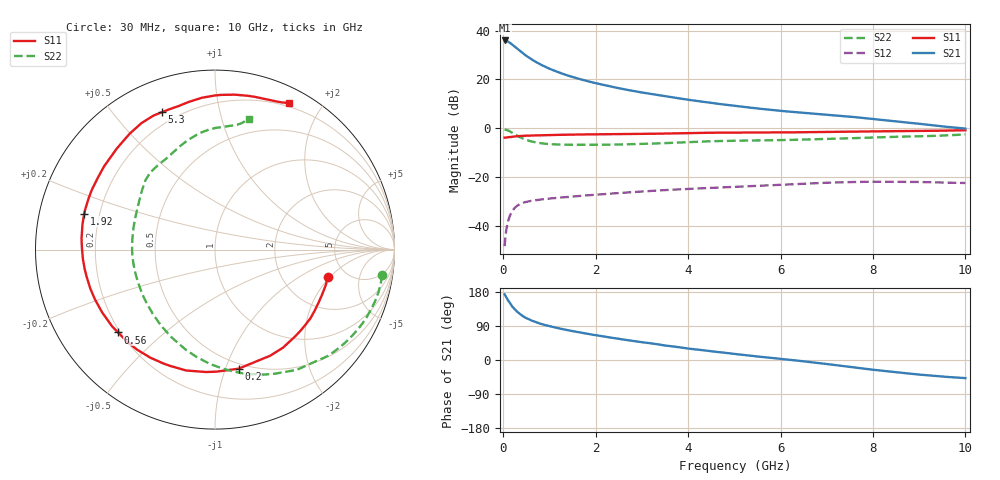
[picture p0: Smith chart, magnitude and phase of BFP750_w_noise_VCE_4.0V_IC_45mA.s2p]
! Infineon Technologies  Discrete & RF Semiconductors
! BFP750
! VCE =  4.0 V,  IC =  45 mA
! Common Emitter S-Parameters:  Jan 2016
# GHz  S  MA  R  50
!  f  S11  S21  S12  S22
! GHz  MAG  ANG  MAG  ANG  MAG  ANG  MAG  ANG
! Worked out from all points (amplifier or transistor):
!   229 points, 30 MHz to 10 GHz, reference 50 ohm
!   highest |S21| = 36.0 dB at 30 MHz (marker M1)
!   |S21| within 3 dB of that: start of sweep to 280 MHz
!   unconditionally stable (mu >= 1): 4.122 GHz to end of sweep
!   at 280 MHz: K = 0.18, MSG = 32.5 dB, |S12| = -32.0 dB
!   at 1.78 GHz: K = 0.68, MSG = 23.5 dB, |S12| = -27.5 dB
!   at 10 GHz: K = 1.06, MAG = 9.7 dB, |S12| = -22.3 dB
!   lowest NFmin = 0.99 dB at 450 MHz
!   S11 on the Smith chart (normalised r, x): 30 MHz: 3.63, -1.89; 200 MHz: 0.45, -1.11; 560 MHz: 0.19, -0.36; 1.92 GHz: 0.14, +0.13; 5.3 GHz: 0.14, +0.68; 10 GHz: 0.16, +1.62
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0.03  0.6472 -13.5  62.85 173.2  0.0039 70.9  0.9437 -8.6
0.07  0.6513 -31.6  61.6 164.2  0.0088 71.0  0.9313 -20.9
0.12  0.6598 -51.5  58.2 154.4  0.0141 64.4  0.8921 -35.4
0.15  0.6663 -62.5  55.87 148.9  0.0168 60.4  0.8628 -43.5
0.2  0.6764 -78.8  51.36 140.5  0.0207 54.1  0.8102 -55.8
0.26  0.6839 -94.2  46.17 132.4  0.0242 48.2  0.748 -68.6
0.3  0.6926 -103.5  42.91 127.4  0.0261 44.7  0.712 -76.5
0.36  0.6966 -114.4  38.47 121.4  0.0283 40.5  0.663 -86.6
0.45  0.7063 -127.8  32.99 113.8  0.0306 35.6  0.6067 -99.8
0.56  0.7106 -139.5  27.89 107.2  0.0324 31.7  0.5566 -112.5
0.7  0.7197 -151.0  23 100.0  0.0341 28.2  0.5175 -126.0
1  0.7306 -167.4  16.6 89.2  0.0367 24.7  0.4775 -146.2
1.3  0.7398 -178.6  12.94 81.0  0.0389 23.1  0.4642 -159.9
1.7  0.751 170.0  9.933 71.8  0.0418 21.8  0.4611 -173.3
1.92  0.7555 164.6  8.768 67.1  0.0434 21.2  0.4619 -179.4
2.6  0.7647 150.3  6.343 54.0  0.0483 19.0  0.4706 164.5
3.4  0.7813 135.9  4.706 40.3  0.0541 15.6  0.4949 149.8
5.1  0.8211 113.5  2.825 14.7  0.0645 7.0  0.5617 128.9
5.3  0.8209 111.2  2.686 12.1  0.0657 5.8  0.564 126.6
6.8  0.8431 96.9  1.977 -7.6  0.0759 -3.8  0.6 110.6
8.4  0.8763 77.9  1.424 -30.9  0.0811 -18.5  0.6705 92.6
10  0.916 63.1  0.991 -47.8  0.0764 -29.8  0.7522 75.4
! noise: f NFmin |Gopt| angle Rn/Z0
0.45  0.99  0.17  -167  0.46
0.9  1.01  0.22  -161  0.23
1.5  1.02  0.32  -156  0.09
1.9  1.03  0.33  -150  0.08
2.4  1.05  0.35  -144  0.09
3.5  1.28  0.37  -129  0.09
